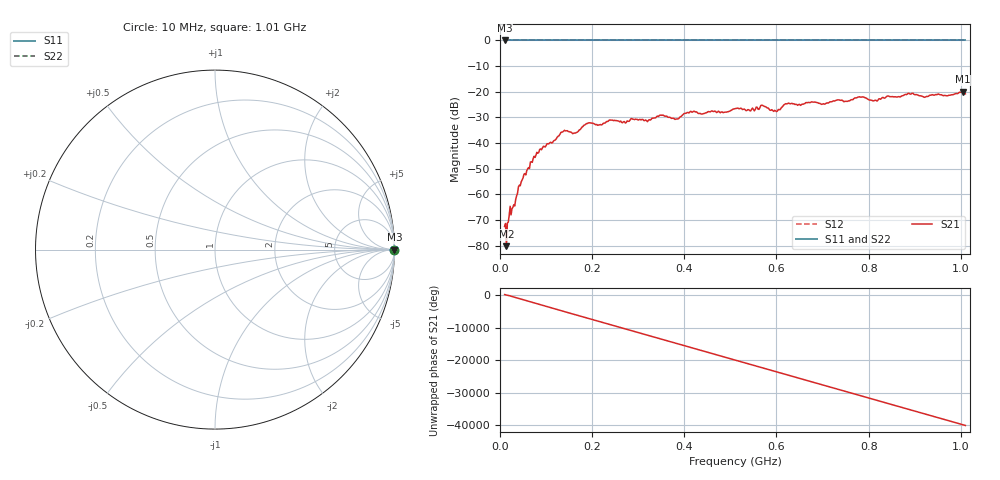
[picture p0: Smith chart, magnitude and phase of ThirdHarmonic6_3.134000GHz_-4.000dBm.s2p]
! 8/17/2025 9:20:09 AM
! C:\ANRITSUVNA\TEMP\TEMP.S2P
! CHANNEL.1
! TR.MEASUREMENT
! RAW.DATA
! RF.CORRECTION.OFF
! AVERAGING.OFF
! IF.BANDWIDTH: 5KHZ
! SWEEPTYPE:  FREQ.SWEEP(Linear)
! Reference Plane Port Info
! PORT:  PORT1  PORT2
! DISTANCE:  0  m  0  m
! TIME:  0  s  0  s
! PHASE.OFFSET:  0  deg.  0  deg.
! LOSS:  0  dB  0  dB
! REF.LOSS:  0  dB  0  dB
! REF.FREQ:  0  Hz  0  Hz
! Power Info
! POWER:  -20  dBm  -20  dBm
! EFF.POWER:  -20  dBm  -20  dBm
! SOURCE.ATTEN:  0  dB  0  dB
! TEST.ATTEN:  0  dB  0  dB
# GHZ S RI R 50.0
! FREQ.GHZ  S11RE  S11IM  S21RE  S21IM  S12RE  S12IM  S22RE  S22IM
!; PortSelection: Port_12
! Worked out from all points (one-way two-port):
!   501 points, 10 MHz to 1.01 GHz, reference 50 ohm
!   highest |S21| = -20.01 dB at 1.004 GHz (marker M1); lowest = -80.2 dB at 14 MHz (marker M2)
!   lowest |S11| = 0.0 dB at 10 MHz (marker M3)
!   |S11| at or under -10 dB: nowhere
!   |S22| runs from 0.0 to 0.0 dB; largest |S21 - S12| = 1.1
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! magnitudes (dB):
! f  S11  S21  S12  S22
! 10 MHz  0.0  -72.5  0.0  0.0
! 14 MHz  0.0  -80.2  0.0  0.0
! 44 MHz  0.0  -56.6  0.0  0.0
! 76 MHz  0.0  -45.6  0.0  0.0
! 136 MHz  0.0  -35.7  0.0  0.0
! 162 MHz  0.0  -36.1  0.0  0.0
! 178 MHz  0.0  -33.8  0.0  0.0
! 192 MHz  0.0  -32.1  0.0  0.0
! 322 MHz  0.0  -31.2  0.0  0.0
! 344 MHz  0.0  -29.6  0.0  0.0
! 384 MHz  0.0  -30.6  0.0  0.0
! 410 MHz  0.0  -28.3  0.0  0.0
! 510 MHz  0.0  -26.5  0.0  0.0
! 570 MHz  0.0  -25.3  0.0  0.0
! 598 MHz  0.0  -27.4  0.0  0.0
! 622 MHz  0.0  -24.7  0.0  0.0
! 678 MHz  0.0  -24.0  0.0  0.0
! 784 MHz  0.0  -22.1  0.0  0.0
! 814 MHz  0.0  -23.3  0.0  0.0
! 844 MHz  0.0  -21.7  0.0  0.0
! 1.004 GHz  0.0  -20.0  0.0  0.0
! 1.01 GHz  0.0  -20.8  0.0  0.0
